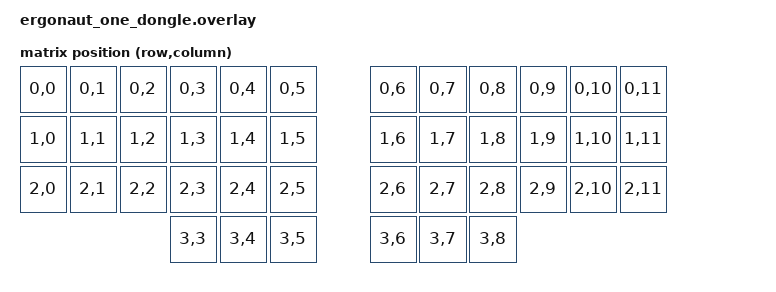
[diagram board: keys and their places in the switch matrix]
#include <dt-bindings/zmk/matrix_transform.h>
#include <dt-bindings/gpio/gpio.h>
#include <dt-bindings/pwm/pwm.h>
#include <dt-bindings/pinctrl/nrf-pinctrl.h>

/ {
    chosen {
        zmk,matrix-transform = &default_transform;
        zmk,kscan = &mock_kscan;
        zephyr,display = &st7789;
        zmk,backlight = &pwm_leds;
    };

    mock_kscan: kscan_0 {
        compatible = "zmk,kscan-mock";
        columns = <0>;
        rows = <0>;
        events = <0>;
    };

    default_transform: matrix_transform {
        compatible = "zmk,matrix-transform";
        columns = <12>;
        rows = <4>;
        map = <
            RC(0,0) RC(0,1) RC(0,2) RC(0,3) RC(0,4) RC(0,5)  RC(0,6) RC(0,7) RC(0,8) RC(0,9) RC(0,10) RC(0,11)
            RC(1,0) RC(1,1) RC(1,2) RC(1,3) RC(1,4) RC(1,5)  RC(1,6) RC(1,7) RC(1,8) RC(1,9) RC(1,10) RC(1,11)
            RC(2,0) RC(2,1) RC(2,2) RC(2,3) RC(2,4) RC(2,5)  RC(2,6) RC(2,7) RC(2,8) RC(2,9) RC(2,10) RC(2,11)
                                                            RC(3,3) RC(3,4) RC(3,5)  RC(3,6) RC(3,7) RC(3,8)
        >;
    };

    gpio_keys {
        compatible = "gpio-keys";
        user_button: button_0 {
            gpios = <&gpio0 31 (GPIO_PULL_UP | GPIO_ACTIVE_LOW)>;
            label = "User Button";
        };
    };

    pwm_leds: pwm_leds {
        compatible = "pwm-leds";
        disp_bl: disp_bl {
            pwms = <&pwm0 0 PWM_MSEC(20) PWM_POLARITY_INVERTED>;
            label = "Backlight PWM";
        };
    };

    mipi_dbi: mipi_dbi {
        compatible = "zephyr,mipi-dbi-spi";
        spi-dev = <&spi1>;
        dc-gpios = <&gpio0 24 GPIO_ACTIVE_HIGH>;
        reset-gpios = <&gpio0 22 GPIO_ACTIVE_LOW>;
        #address-cells = <1>;
        #size-cells = <0>;

        st7789: st7789@0 {
            compatible = "sitronix,st7789v";
            reg = <0>;
            mipi-max-frequency = <20000000>;
            mipi-mode = "MIPI_DBI_MODE_SPI_4WIRE";

            width = <240>;
            height = <240>;
            x-offset = <0>;
            y-offset = <0>;

            vcom = <0x19>;
            gctrl = <0x35>;
            vrhs = <0x12>;
            vdvs = <0x20>;
            mdac = <0x00>;
            gamma = <0x01>;
            colmod = <0x05>;
            lcm = <0x2c>;
            porch-param = [0c 0c 00 33 33];
            cmd2en-param = [5a 69 02 01];
            pwctrl1-param = [a4 a1];
            pvgam-param = [d0 04 0d 11 13 2b 3f 54 4c 18 0d 0b 1f 23];
            nvgam-param = [d0 04 0c 11 13 2c 3f 44 51 2f 1f 1f 20 23];
            ram-param = [00 f0];
            rgb-param = [00 00 06 06 00];
        };
    };
};

&pinctrl {
    spi1_default: spi1_default {
        group1 {
            psels = <NRF_PSEL(SPIM_SCK, 0, 17)>,
                    <NRF_PSEL(SPIM_MOSI, 0, 20)>;
        };
    };
    spi1_sleep: spi1_sleep {
        group1 {
            psels = <NRF_PSEL(SPIM_SCK, 0, 17)>,
                    <NRF_PSEL(SPIM_MOSI, 0, 20)>;
            low-power-enable;
        };
    };
    pwm0_default: pwm0_default {
        group1 {
            psels = <NRF_PSEL(PWM_OUT0, 1, 4)>;
        };
    };
    pwm0_sleep: pwm0_sleep {
        group1 {
            psels = <NRF_PSEL(PWM_OUT0, 1, 4)>;
            low-power-enable;
        };
    };
};

&pwm0 {
    status = "okay";
    pinctrl-0 = <&pwm0_default>;
    pinctrl-1 = <&pwm0_sleep>;
    pinctrl-names = "default", "sleep";
};

&spi1 {
    status = "okay";
    pinctrl-0 = <&spi1_default>;
    pinctrl-1 = <&spi1_sleep>;
    pinctrl-names = "default", "sleep";
    cs-gpios = <&gpio0 11 GPIO_ACTIVE_LOW>;
};
